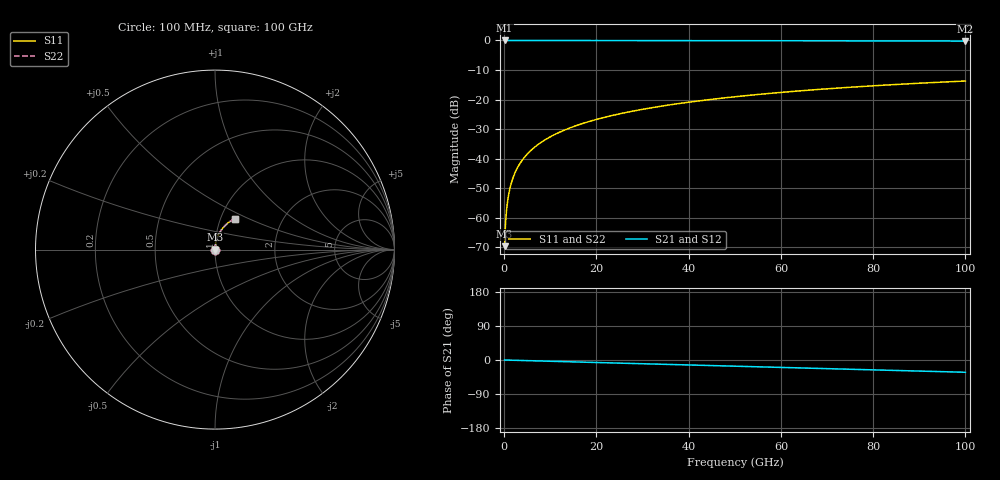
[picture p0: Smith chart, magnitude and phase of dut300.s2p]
! Touchstone file exported from HFSS 2026.1.0
!  File:  C:/ffzhzh/LocalFiles/Ansys_Project_Files/temp_train_TSV_300_1783509153_41296.aedt
!  Generated:  07:13:55 PM Jul  8, 2026
!  Design:  TSV
!  Project:  temp_train_TSV_300_1783509153_41296
! Variables:
!  h_bsmrdl = 2um
!  h_ox = 20um
!  h_rdl = 5um
!  h_sub = 55.67um
!  h_tmrdl = 5um
!  h_tsv = 55.67um
!  h_via = 3um
!  l_bsmrdl = 300um
!  l_sub = 412.58um
!  l_tmrdl = 200um
!  m_sub = 200um
!  pitch = 44.15um
!  r_tsv = 6.29um
!  s_tmrdl = 10um
!  w_bsmrdl = 18um
!  w_sub = 500um
!  w_tmrdl = 12um
!  x_tsv_center1 = 206um
!  x_tsv_center2 = 524um
!  x_tsv_center3 = 736um
!  x_tsv_center4 = 1054um
!  x_tsv_center5 = 1266um
!  x_tsv_center6 = 1584um
# GHz S MA R 50.000000
! Terminal data exported
! Port[1] = TSV1_1_T1
! Port[2] = TSV1_1_T2
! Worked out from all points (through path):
!   1000 points, 100 MHz to 100 GHz, reference 50 ohm
!   highest |S21| = 0.00 dB at 100 MHz (marker M1); lowest = -0.2 dB at 100 GHz (marker M2)
!   group delay of S21, straight-line fit = 899 fs
!   lowest |S11| = -69.6 dB at 100 MHz (marker M3), VSWR 1.00, Z = 50 + j0.0265 ohm
!   |S11| at or under -10 dB: start of sweep to end of sweep
!   |S22| runs from -69.6 to -13.7 dB; largest |S21 - S12| = 4.3e-15
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0.1  0.0003297 53.4  0.9998 -0.0  0.9998 -0.0  0.0003297 53.4
! Gamma 0 0 0 0
! Port Impedance 50 0 50 0
0.4  0.00104 77.2  0.9998 -0.1  0.9998 -0.1  0.00104 77.2
0.7  0.001771 81.6  0.9997 -0.2  0.9997 -0.2  0.001771 81.6
0.8  0.002016 82.4  0.9997 -0.3  0.9997 -0.3  0.002016 82.4
1.1  0.002749 83.7  0.9997 -0.4  0.9997 -0.4  0.002749 83.7
1.4  0.003478 84.3  0.9997 -0.5  0.9997 -0.5  0.003478 84.3
1.9  0.00468 84.8  0.9996 -0.6  0.9996 -0.6  0.00468 84.8
2.4  0.005867 85.0  0.9996 -0.8  0.9996 -0.8  0.005867 85.0
3  0.007276 85.1  0.9995 -1.0  0.9995 -1.0  0.007276 85.1
3.8  0.009136 85.2  0.9994 -1.3  0.9994 -1.3  0.009136 85.2
4.8  0.01145 85.2  0.9993 -1.6  0.9993 -1.6  0.01145 85.2
6  0.01421 85.1  0.9992 -2.0  0.9992 -2.0  0.01421 85.1
8.8  0.02063 84.7  0.9989 -2.9  0.9989 -2.9  0.02063 84.7
12.4  0.02884 83.8  0.9985 -4.1  0.9985 -4.1  0.02884 83.8
16.8  0.03881 82.6  0.998 -5.6  0.998 -5.6  0.03881 82.6
24.2  0.05543 80.5  0.997 -8.0  0.997 -8.0  0.05543 80.5
33.4  0.07578 77.7  0.9954 -11.0  0.9954 -11.0  0.07578 77.7
41.2  0.09271 75.3  0.9938 -13.5  0.9938 -13.5  0.09271 75.3
50.1  0.1116 72.5  0.9917 -16.4  0.9917 -16.4  0.1116 72.5
66.7  0.1454 67.3  0.987 -21.8  0.987 -21.8  0.1454 67.3
83.4  0.177 62.1  0.9816 -27.1  0.9816 -27.1  0.177 62.1
100  0.2058 56.9  0.9757 -32.4  0.9757 -32.4  0.2058 56.9
